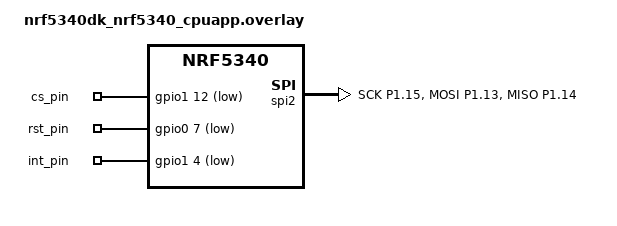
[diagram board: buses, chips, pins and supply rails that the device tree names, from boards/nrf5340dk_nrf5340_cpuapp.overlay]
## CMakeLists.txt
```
# SPDX-License-Identifier: Apache-2.0

cmake_minimum_required(VERSION 3.20.0)
find_package(Zephyr REQUIRED HINTS $ENV{ZEPHYR_BASE})
project(my_project)

target_compile_definitions(app PRIVATE
    CONFIG_SPI=1
    CONFIG_GPIO=1
)

target_compile_options(app PRIVATE
    -Wno-error=double-promotion
    -Wno-error=overflow
    -Wno-error=maybe-uninitialized
)

target_sources(app PRIVATE
    src/main.c
    src/ad5940/ad5940.c
    src/ad5940/AD5940Main.c
    src/ad5940/BodyImpedance.c
    src/ad5940/ad5940_port.c
    src/AD5940_SPI.c
    )


target_include_directories(app PRIVATE
    src
    src/ad5940
)
```

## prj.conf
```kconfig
CONFIG_GPIO=y
CONFIG_SPI=y
CONFIG_LOG=y
CONFIG_FPU=y
CONFIG_NEWLIB_LIBC=y
CONFIG_NEWLIB_LIBC_FLOAT_PRINTF=y

CONFIG_MAIN_STACK_SIZE=8192
CONFIG_SYSTEM_WORKQUEUE_STACK_SIZE=4096

CONFIG_SERIAL=y
CONFIG_CONSOLE=y
CONFIG_UART_CONSOLE=y
CONFIG_PRINTK=y
CONFIG_LOG_BACKEND_UART=y
CONFIG_BOOT_BANNER=y
CONFIG_FAULT_DUMP=2
```

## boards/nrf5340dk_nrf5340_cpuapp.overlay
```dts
&spi4 {
	status = "disabled";
};

&pinctrl {
	spi2_default: spi2_default {
		group1 {
			psels = <NRF_PSEL(SPIM_SCK, 1, 15)>,
				<NRF_PSEL(SPIM_MOSI, 1, 13)>,
				<NRF_PSEL(SPIM_MISO, 1, 14)>;
		};
	};
	spi2_sleep: spi2_sleep {
		group1 {
			psels = <NRF_PSEL(SPIM_SCK, 1, 15)>,
				<NRF_PSEL(SPIM_MOSI, 1, 13)>,
				<NRF_PSEL(SPIM_MISO, 1, 14)>;
			low-power-enable;
		};
	};
};

&spi2 {
	compatible = "nordic,nrf-spim";
	status = "okay";
	pinctrl-0 = <&spi2_default>;
	pinctrl-1 = <&spi2_sleep>;
	pinctrl-names = "default", "sleep";
	/delete-property/ cs-gpios;
};

/ {
	ad5940_gpios {
		compatible = "gpio-leds";
		cs_pin: cs_pin {
			gpios = <&gpio1 12 GPIO_ACTIVE_LOW>;
		};
		rst_pin: rst_pin {
			gpios = <&gpio0 7 GPIO_ACTIVE_LOW>;
		};
		int_pin: int_pin {
			gpios = <&gpio1 4 (GPIO_PULL_UP | GPIO_ACTIVE_LOW)>;
		};
	};
};
```

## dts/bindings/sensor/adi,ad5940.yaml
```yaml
# SPDX-License-Identifier: Apache-2.0

description: AD5940 analog front end with SPI connection

compatible: "adi,ad5940"

include: ["spi-device.yaml"]
```

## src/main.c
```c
#include <zephyr/kernel.h>
#include <zephyr/logging/log.h>
#include <stdio.h>
#include "ad5940.h"
#include "AD5940Main.h"

LOG_MODULE_REGISTER(main, LOG_LEVEL_INF);

AD5940Err err;
uint32_t bufferLectura[512];
int main(void)
{
	/* Delay to allow serial connection before output */
	k_msleep(3000);
	printf("\n\n=== AD5940 BIA app v56-hibernate-wake ===\n");

	printf("Calling MCUResourceInit...\n");
	if (AD5940_MCUResourceInit() != 0) {
		printf("ERROR: MCU resource init failed\n");
		return -1;
	}
	printf("MCUResourceInit done, calling AD5940_Main...\n");

	AD5940_Main();

	LOG_INF("Measurement done, entering idle loop");
	while (1) {
		k_msleep(1000);
	}

	return 0;
}
```

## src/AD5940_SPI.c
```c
/*!
 *****************************************************************************
 @file:    AD5940_SPI.c
 @author:  $Author: nxu2 $
 @brief:   Basic register read/write test example.
 @version: $Revision: 766 $
 @date:    $Date: 2017-08-21 14:09:35 +0100 (Mon, 21 Aug 2017) $
 -----------------------------------------------------------------------------

Copyright (c) 2017-2019 Analog Devices, Inc. All Rights Reserved.

This software is proprietary to Analog Devices, Inc. and its licensors.
By using this software you agree to the terms of the associated
Analog Devices Software License Agreement.

*****************************************************************************/

/**
 * This example shows how to read/write AD5940 registers through SPI.
 * Use function called AD5940_ReadReg and AD5940_WriteReg.
**/
#include "ad5940.h"
#include "AD5940.h"
#include <stdio.h>
#include "string.h"
#include <stdlib.h>

void AD5940_Main2(void)
{
  unsigned long temp, i;
  /**
   * Hardware reset can always put AD5940 to default state. 
   * We recommend to use hardware reset rather than software reset
   * because there are some situations that SPI won't work, for example, AD59840 is in hibernate mode, 
   * or AD5940 system clock is 32kHz that SPI bus clock should also be limited..
   * */
  AD5940_HWReset();
  /**
   * @note MUST call this function whenever there is reset happened. This function will put AD5940 to right state.
   *       The reset can be software reset or hardware reset or power up reset.
  */
  AD5940_Initialize();
  /**
   * Normal application code starts here.
  */
  /**
   * Read register test.
  */
  temp = AD5940_ReadReg(REG_AFECON_ADIID);
  printf("Read ADIID register, got: 0x%04lx\n", temp);
  if(temp != AD5940_ADIID)
    printf("Read register test failed.\n" );
  else
    printf("Read register test pass\n");
  /**
   * Write register test.
   * */
  srand(0x1234);
  i =10000;
  while(i--)
  {
    static unsigned long count;
    static unsigned long data;
    /* Generate a 32bit random data */
    data = rand()&0xffff;
    data <<= 16;
    data |= rand()&0xffff;
    count ++;	/* Read write count */
    /**
     * Register CALDATLOCK is 32-bit width, it's readable and writable.
     * We use it to test SPI register access.
    */
    AD5940_WriteReg(REG_AFE_CALDATLOCK, data);
    temp = AD5940_ReadReg(REG_AFE_CALDATLOCK);
    if(temp != data)
      printf("Write register test failed @0x%08lx\n", data);
    if(!(count%1000))
      printf("Read/Write has been done %ld times, latest data is 0x%08lx\n", count, data);
  }
  printf("SPI read/write test completed");
  while(1);
}
```

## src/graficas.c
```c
#include <zephyr/kernel.h>
#include <zephyr/sys/printk.h>
#include "graficas.h" // Incluye su propia cabecera

void graficar_datos_teleplot(float *data, uint32_t size, const char *label)
{
    for (uint32_t i = 0; i < size; i++) {
        printk(">%s:%f\n", label, (double)data[i]);
        k_sleep(K_MSEC(1));
    }
}
```

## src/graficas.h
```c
#ifndef GRAFICAS_H
#define GRAFICAS_H

#include <zephyr/types.h>

void graficar_datos_teleplot(float *data, uint32_t size, const char *label);

#endif
```

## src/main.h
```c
#include <zephyr/drivers/uart.h>
#include "ad5940/ad5940.h"
#include "ad5940/BodyImpedance.h"

extern AppBIACfg_Type *pCfg;
extern const struct device *uart;
extern uint32_t bufferLectura[512];

int main(void);
```

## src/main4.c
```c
#include <zephyr/kernel.h>
#include <zephyr/sys/printk.h>
#include "ad5940/ad5940.h"
#include "ad5940/BodyImpedance.h"

int AD5940Port_Init(void);

int main4(void)
{
    printk("Inicio BIA\n");

    if (AD5940Port_Init() != 0) {
        printk("Error puerto\n");
        return 0;
    }

    AD5940_RstClr();
    k_msleep(50);
    AD5940_RstSet();
    k_msleep(50);

    printk("Reset hecho\n");

    AD5940_Initialize();

    printk("Inicializando BIA...\n");

    AppBIACfg_Type *pBIACfg;
    AppBIAGetCfg(&pBIACfg);

    AppBIAInit(0, 0);

    printk("BIA listo\n");

    while (1) {
        AppBIACtrl(BIACTRL_START, 0);
        k_msleep(1000);
    }

    return 0;
}
```
